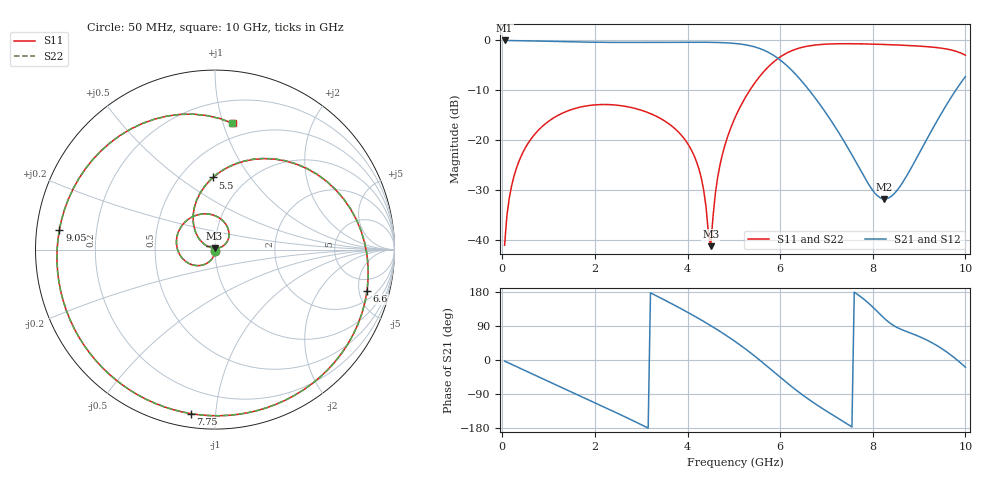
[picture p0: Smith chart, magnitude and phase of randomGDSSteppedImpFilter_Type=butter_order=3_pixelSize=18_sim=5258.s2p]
! freq	dB(S11)	phase(S11)	dB(S12)	phase(S12)
!  dB(S21)	phase(S21)	dB(S22)	phase(S22)
!S-par simulation data
#  GHz  S  DB  R 50
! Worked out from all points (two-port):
!   200 points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, 50 MHz to 10 GHz, reference 50 ohm
!   highest |S21| = 0.00 dB at 50 MHz (marker M1); lowest = -31.8 dB at 8.25 GHz (marker M2)
!   |S21| within 3 dB of the highest: start of sweep to 5.86 GHz
!   lowest |S11| = -41.3 dB at 4.5 GHz (marker M3), VSWR 1.02, Z = 49.7 + j0.823 ohm
!   |S11| at or under -10 dB: start of sweep to 5.344 GHz
!   |S22| runs from -41.6 to -0.7 dB; largest |S21 - S12| = 0
!   S11 on the Smith chart (normalised r, x): 50 MHz: 1.00, -0.02; 5.5 GHz: 0.71, +0.68; 6.6 GHz: 3.01, -6.02; 7.75 GHz: 0.07, -0.86; 9.05 GHz: 0.07, +0.06; 10 GHz: 0.38, +1.08
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0.05  -41.07 -92.3  -0.00 -2.9  -0.00 -2.9  -41.06 -92.3
0.2  -29.21 -101.3  -0.02 -11.4  -0.02 -11.4  -29.21 -101.3
0.5  -21.51 -118.9  -0.07 -28.4  -0.07 -28.4  -21.51 -118.9
1.75  -13.25 170.5  -0.33 -98.6  -0.33 -98.6  -13.25 170.6
2.65  -13.21 119.3  -0.40 -150.0  -0.40 -150.0  -13.21 119.4
3.4  -15.57 74.6  -0.38 164.8  -0.38 164.8  -15.57 74.8
4.15  -23.29 29.2  -0.35 115.8  -0.35 115.8  -23.29 29.3
4.35  -30.09 23.3  -0.36 101.7  -0.36 101.7  -30.11 23.0
4.5  -41.27 106.7  -0.38 90.7  -0.38 90.7  -41.60 107.6
4.7  -25.02 154.5  -0.42 75.6  -0.42 75.6  -25.03 155.1
5.05  -14.99 131.5  -0.63 47.0  -0.63 47.0  -14.99 131.9
5.5  -7.91 91.5  -1.43 5.5  -1.43 5.5  -7.91 91.9
6  -3.32 41.4  -3.92 -45.4  -3.92 -45.4  -3.32 41.7
6.6  -1.13 -15.2  -9.67 -102.4  -9.67 -102.4  -1.13 -15.0
6.7  -0.99 -23.6  -10.86 -110.9  -10.86 -110.9  -0.99 -23.4
7.2  -0.68 -61.5  -17.53 -150.0  -17.53 -150.0  -0.68 -61.4
7.75  -0.69 -98.3  -26.28 166.0  -26.28 166.0  -0.69 -98.2
8.25  -0.81 -130.7  -31.81 109.8  -31.81 109.8  -0.81 -130.6
8.35  -0.85 -137.2  -31.58 99.5  -31.58 99.5  -0.85 -137.1
9.05  -1.17 172.9  -21.83 59.4  -21.83 59.4  -1.17 173.0
9.6  -1.73 124.8  -12.80 20.9  -12.80 20.9  -1.73 125.0
10  -2.97 82.1  -7.26 -19.0  -7.26 -19.0  -2.96 82.4
